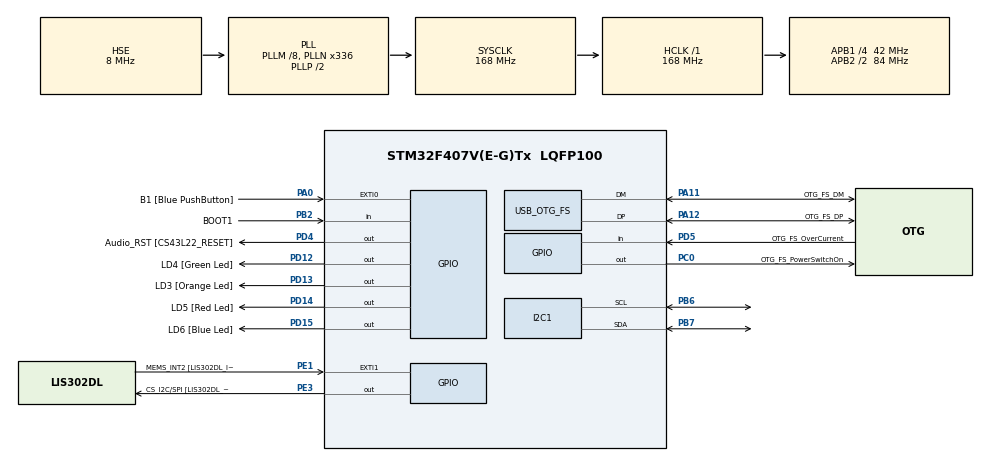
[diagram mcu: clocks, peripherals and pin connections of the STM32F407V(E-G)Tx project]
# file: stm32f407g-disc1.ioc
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Dma.I2C1_RX.0.Direction=DMA_PERIPH_TO_MEMORY
Dma.I2C1_RX.0.FIFOMode=DMA_FIFOMODE_DISABLE
Dma.I2C1_RX.0.Instance=DMA1_Stream0
Dma.I2C1_RX.0.MemDataAlignment=DMA_MDATAALIGN_BYTE
Dma.I2C1_RX.0.MemInc=DMA_MINC_ENABLE
Dma.I2C1_RX.0.Mode=DMA_NORMAL
Dma.I2C1_RX.0.PeriphDataAlignment=DMA_PDATAALIGN_BYTE
Dma.I2C1_RX.0.PeriphInc=DMA_PINC_DISABLE
Dma.I2C1_RX.0.Priority=DMA_PRIORITY_LOW
Dma.I2C1_TX.1.Direction=DMA_MEMORY_TO_PERIPH
Dma.I2C1_TX.1.FIFOMode=DMA_FIFOMODE_DISABLE
Dma.I2C1_TX.1.Instance=DMA1_Stream6
Dma.I2C1_TX.1.MemDataAlignment=DMA_MDATAALIGN_BYTE
Dma.I2C1_TX.1.MemInc=DMA_MINC_ENABLE
Dma.I2C1_TX.1.Mode=DMA_NORMAL
Dma.I2C1_TX.1.PeriphDataAlignment=DMA_PDATAALIGN_BYTE
Dma.I2C1_TX.1.PeriphInc=DMA_PINC_DISABLE
Dma.I2C1_TX.1.Priority=DMA_PRIORITY_LOW
Dma.Request0=I2C1_RX
Dma.Request1=I2C1_TX
FREERTOS.Tasks01=defaultTask,24,128,StartDefaultTask,Default,NULL,Dynamic,NULL,NULL;myTestTask,8,300,myTestTaskStart,Default,NULL,Dynamic,NULL,NULL
FREERTOS.configCHECK_FOR_STACK_OVERFLOW=1
FREERTOS.configENABLE_FPU=1
FREERTOS.configMINIMAL_STACK_SIZE=64
FREERTOS.configRECORD_STACK_HIGH_ADDRESS=1
FREERTOS.configUSE_MALLOC_FAILED_HOOK=1
FREERTOS.configUSE_NEWLIB_REENTRANT=1
FREERTOS.configUSE_POSIX_ERRNO=1
I2C1.I2C_Mode=I2C_Fast
Mcu.Family=STM32F4
Mcu.Name=STM32F407V(E-G)Tx
Mcu.Package=LQFP100
NVIC.DMA1_Stream0_IRQn=true\:5\:0\:false\:false\:true\:true\:true\:true\:true
NVIC.DMA1_Stream6_IRQn=true\:5\:0\:false\:false\:true\:true\:true\:true\:true
NVIC.I2C1_ER_IRQn=true\:5\:0\:false\:false\:true\:true\:true\:true\:true
NVIC.I2C1_EV_IRQn=true\:5\:0\:false\:false\:true\:true\:true\:true\:true
NVIC.OTG_FS_IRQn=true\:10\:0\:false\:false\:true\:true\:true\:true\:true
NVIC.PriorityGroup=NVIC_PRIORITYGROUP_4
PA0-WKUP.GPIO_Label=B1 [Blue PushButton]
PA0-WKUP.GPIO_ModeDefaultEXTI=GPIO_MODE_EVT_RISING
PA0-WKUP.GPIO_PuPd=GPIO_NOPULL
PA0-WKUP.Signal=GPXTI0
PA10.GPIO_Label=OTG_FS_ID
PA10.GPIO_Mode=GPIO_MODE_AF_PP
PA10.GPIO_PuPd=GPIO_NOPULL
PA10.GPIO_Speed=GPIO_SPEED_FREQ_LOW
PA10.Signal=USB_OTG_FS_ID
PA11.GPIO_Label=OTG_FS_DM
PA11.GPIO_Mode=GPIO_MODE_AF_PP
PA11.GPIO_PuPd=GPIO_NOPULL
PA11.GPIO_Speed=GPIO_SPEED_FREQ_LOW
PA11.Mode=Device_Only
PA11.Signal=USB_OTG_FS_DM
PA12.GPIO_Label=OTG_FS_DP
PA12.GPIO_Mode=GPIO_MODE_AF_PP
PA12.GPIO_PuPd=GPIO_NOPULL
PA12.GPIO_Speed=GPIO_SPEED_FREQ_LOW
PA12.Mode=Device_Only
PA12.Signal=USB_OTG_FS_DP
PA13.GPIO_Label=SWDIO
PA13.Mode=Serial_Wire
PA13.Signal=SYS_JTMS-SWDIO
PA14.GPIO_Label=SWCLK
PA14.Mode=Serial_Wire
PA14.Signal=SYS_JTCK-SWCLK
PA4.GPIO_Label=I2S3_WS [CS43L22_LRCK]
PA4.GPIO_Mode=GPIO_MODE_AF_PP
PA4.GPIO_PuPd=GPIO_NOPULL
PA4.GPIO_Speed=GPIO_SPEED_FREQ_LOW
PA4.Signal=I2S3_WS
PA5.GPIO_Label=SPI1_SCK [LIS302DL_SCL/SPC]
PA5.GPIO_Mode=GPIO_MODE_AF_PP
PA5.GPIO_PuPd=GPIO_NOPULL
PA5.GPIO_Speed=GPIO_SPEED_FREQ_LOW
PA5.Signal=SPI1_SCK
PA6.GPIO_Label=SPI1_MISO [LIS302DL_SDO]
PA6.GPIO_Mode=GPIO_MODE_AF_PP
PA6.GPIO_PuPd=GPIO_NOPULL
PA6.GPIO_Speed=GPIO_SPEED_FREQ_LOW
PA6.Signal=SPI1_MISO
PA7.GPIO_Label=SPI1_MOSI [LIS302DL_SDA/SDI/SDO]
PA7.GPIO_Mode=GPIO_MODE_AF_PP
PA7.GPIO_PuPd=GPIO_NOPULL
PA7.GPIO_Speed=GPIO_SPEED_FREQ_LOW
PA7.Signal=SPI1_MOSI
PA9.GPIO_Label=VBUS_FS
PA9.GPIO_Mode=GPIO_MODE_INPUT
PA9.GPIO_PuPd=GPIO_NOPULL
PA9.Signal=USB_OTG_FS_VBUS
PB10.GPIO_Label=CLK_IN [MP45DT02_CLK]
PB10.GPIO_Mode=GPIO_MODE_AF_PP
PB10.GPIO_PuPd=GPIO_NOPULL
PB10.GPIO_Speed=GPIO_SPEED_FREQ_LOW
PB10.Signal=I2S2_CK
PB2.GPIO_Label=BOOT1
PB2.GPIO_Mode=GPIO_MODE_INPUT
PB2.GPIO_PuPd=GPIO_NOPULL
PB2.Signal=GPIO_Input
PB3.GPIO_Label=SWO
PB3.Signal=SYS_JTDO-SWO
PB6.GPIO_Speed=GPIO_SPEED_FREQ_LOW
PB6.Mode=I2C
PB6.Signal=I2C1_SCL
PB7.GPIO_Speed=GPIO_SPEED_FREQ_LOW
PB7.Mode=I2C
PB7.Signal=I2C1_SDA
PC0.GPIO_Label=OTG_FS_PowerSwitchOn
PC0.GPIO_PuPd=GPIO_NOPULL
PC0.GPIO_Speed=GPIO_SPEED_FREQ_LOW
PC0.PinState=GPIO_PIN_SET
PC0.Signal=GPIO_Output
PC10.GPIO_Label=I2S3_SCK [CS43L22_SCLK]
PC10.GPIO_Mode=GPIO_MODE_AF_PP
PC10.GPIO_PuPd=GPIO_NOPULL
PC10.GPIO_Speed=GPIO_SPEED_FREQ_LOW
PC10.Signal=I2S3_CK
PC12.GPIO_Label=I2S3_SD [CS43L22_SDIN]
PC12.GPIO_Mode=GPIO_MODE_AF_PP
PC12.GPIO_PuPd=GPIO_NOPULL
PC12.GPIO_Speed=GPIO_SPEED_FREQ_LOW
PC12.Signal=I2S3_SD
PC14-OSC32_IN.GPIO_Label=PC14-OSC32_IN
PC14-OSC32_IN.Mode=LSE-External-Oscillator
PC14-OSC32_IN.Signal=RCC_OSC32_IN
PC15-OSC32_OUT.GPIO_Label=PC15-OSC32_OUT
PC15-OSC32_OUT.Mode=LSE-External-Oscillator
PC15-OSC32_OUT.Signal=RCC_OSC32_OUT
PC3.GPIO_Label=PDM_OUT [MP45DT02_DOUT]
PC3.GPIO_Mode=GPIO_MODE_AF_PP
PC3.GPIO_PuPd=GPIO_NOPULL
PC3.GPIO_Speed=GPIO_SPEED_FREQ_LOW
PC3.Signal=I2S2_SD
PC7.GPIO_Label=I2S3_MCK [CS43L22_MCLK]
PC7.GPIO_Mode=GPIO_MODE_AF_PP
PC7.GPIO_PuPd=GPIO_NOPULL
PC7.GPIO_Speed=GPIO_SPEED_FREQ_LOW
PC7.Signal=I2S3_MCK
PD12.GPIO_Label=LD4 [Green Led]
PD12.GPIO_PuPd=GPIO_NOPULL
PD12.GPIO_Speed=GPIO_SPEED_FREQ_LOW
PD12.Signal=GPIO_Output
PD13.GPIO_Label=LD3 [Orange Led]
PD13.GPIO_PuPd=GPIO_NOPULL
PD13.GPIO_Speed=GPIO_SPEED_FREQ_LOW
PD13.Signal=GPIO_Output
PD14.GPIO_Label=LD5 [Red Led]
PD14.GPIO_PuPd=GPIO_NOPULL
PD14.GPIO_Speed=GPIO_SPEED_FREQ_LOW
PD14.Signal=GPIO_Output
PD15.GPIO_Label=LD6 [Blue Led]
PD15.GPIO_PuPd=GPIO_NOPULL
PD15.GPIO_Speed=GPIO_SPEED_FREQ_LOW
PD15.Signal=GPIO_Output
PD4.GPIO_Label=Audio_RST [CS43L22_RESET]
PD4.GPIO_PuPd=GPIO_NOPULL
PD4.GPIO_Speed=GPIO_SPEED_FREQ_LOW
PD4.Signal=GPIO_Output
PD5.GPIO_Label=OTG_FS_OverCurrent
PD5.GPIO_Mode=GPIO_MODE_INPUT
PD5.GPIO_PuPd=GPIO_NOPULL
PD5.Signal=GPIO_Input
PE1.GPIO_Label=MEMS_INT2 [LIS302DL_INT2]
PE1.GPIO_ModeDefaultEXTI=GPIO_MODE_EVT_RISING
PE1.GPIO_PuPd=GPIO_NOPULL
PE1.Signal=GPXTI1
PE3.GPIO_Label=CS_I2C/SPI [LIS302DL_CS_I2C/SPI]
PE3.GPIO_PuPd=GPIO_NOPULL
PE3.GPIO_Speed=GPIO_SPEED_FREQ_LOW
PE3.Signal=GPIO_Output
PH0-OSC_IN.GPIO_Label=PH0-OSC_IN
PH0-OSC_IN.Mode=HSE-External-Oscillator
PH0-OSC_IN.Signal=RCC_OSC_IN
PH1-OSC_OUT.GPIO_Label=PH1-OSC_OUT
PH1-OSC_OUT.Mode=HSE-External-Oscillator
PH1-OSC_OUT.Signal=RCC_OSC_OUT
ProjectManager.HeapSize=0x600
ProjectManager.StackSize=0x400
ProjectManager.TargetToolchain=STM32CubeIDE
RCC.48MHZClocksFreq_Value=48000000
RCC.AHBFreq_Value=168000000
RCC.APB1CLKDivider=RCC_HCLK_DIV4
RCC.APB1Freq_Value=42000000
RCC.APB1TimFreq_Value=84000000
RCC.APB2CLKDivider=RCC_HCLK_DIV2
RCC.APB2Freq_Value=84000000
RCC.APB2TimFreq_Value=168000000
RCC.CortexFreq_Value=168000000
RCC.HCLKFreq_Value=168000000
RCC.HSE_VALUE=8000000
RCC.HSI_VALUE=16000000
RCC.PLLM=8
RCC.PLLN=336
RCC.PLLQ=7
RCC.SYSCLKFreq_VALUE=168000000
RCC.SYSCLKSource=RCC_SYSCLKSOURCE_PLLCLK
RCC.VCOOutputFreq_Value=336000000
USB_DEVICE.CLASS_NAME_FS=CDC
USB_DEVICE.VirtualMode-CDC_FS=Cdc
USB_DEVICE.VirtualModeFS=Cdc_FS
USB_OTG_FS.VirtualMode=Device_Only
VP_FREERTOS_VS_CMSIS_V2.Mode=CMSIS_V2
VP_USB_DEVICE_VS_USB_DEVICE_CDC_FS.Mode=CDC_FS
board=STM32F407G-DISC1

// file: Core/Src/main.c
/* USER CODE BEGIN Header */
/**
  ******************************************************************************
  * @file           : main.c
  * @brief          : Main program body
  ******************************************************************************
  * @attention
  *
  * Copyright (c) 2025 STMicroelectronics.
  * All rights reserved.
  *
  * This software is licensed under terms that can be found in the LICENSE file
  * in the root directory of this software component.
  * If no LICENSE file comes with this software, it is provided AS-IS.
  *
  ******************************************************************************
  */
/* USER CODE END Header */
#include "main.h"
#include "cmsis_os.h"
#include "dma.h"
#include "i2c.h"
#include "usb_device.h"
#include "gpio.h"

/* USER CODE BEGIN Includes */
#include "demo_task.h"
#include "PARSECS_LowLevelTask.h"
#include "PARSECS_Protocol_Interface.h"
/* USER CODE END Includes */

void SystemClock_Config(void);
void MX_FREERTOS_Init(void);

int main(void)
{

  /* MCU Configuration--------------------------------------------------------*/

  /* Reset of all peripherals, Initializes the Flash interface and the Systick. */
  HAL_Init();

  /* Configure the system clock */
  SystemClock_Config();

  /* Initialize all configured peripherals */
  MX_GPIO_Init();
  MX_DMA_Init();
  MX_I2C1_Init();
  /* USER CODE BEGIN 2 */
  PARSECS_LowLevelTaskInit();
  PARSECS_Protocol_Interface_Task_Init();
  DemoTask_Init();
  /* USER CODE END 2 */

  /* Init scheduler */
  osKernelInitialize();

  /* Call init function for freertos objects (in cmsis_os2.c) */
  MX_FREERTOS_Init();

  /* Start scheduler */
  osKernelStart();

  /* We should never get here as control is now taken by the scheduler */

  /* Infinite loop */
  /* USER CODE BEGIN WHILE */
  //vTaskStartScheduler();
  while (1)
  {
    /* USER CODE END WHILE */

  }
}

void SystemClock_Config(void)
{
  RCC_OscInitTypeDef RCC_OscInitStruct = {0};
  RCC_ClkInitTypeDef RCC_ClkInitStruct = {0};

  /** Configure the main internal regulator output voltage
  */
  __HAL_RCC_PWR_CLK_ENABLE();
  __HAL_PWR_VOLTAGESCALING_CONFIG(PWR_REGULATOR_VOLTAGE_SCALE1);

  /** Initializes the RCC Oscillators according to the specified parameters
  * in the RCC_OscInitTypeDef structure.
  */
  RCC_OscInitStruct.OscillatorType = RCC_OSCILLATORTYPE_HSE;
  RCC_OscInitStruct.HSEState = RCC_HSE_ON;
  RCC_OscInitStruct.PLL.PLLState = RCC_PLL_ON;
  RCC_OscInitStruct.PLL.PLLSource = RCC_PLLSOURCE_HSE;
  RCC_OscInitStruct.PLL.PLLM = 8;
  RCC_OscInitStruct.PLL.PLLN = 336;
  RCC_OscInitStruct.PLL.PLLP = RCC_PLLP_DIV2;
  RCC_OscInitStruct.PLL.PLLQ = 7;
  if (HAL_RCC_OscConfig(&RCC_OscInitStruct) != HAL_OK)
  {
    Error_Handler();
  }

  /** Initializes the CPU, AHB and APB buses clocks
  */
  RCC_ClkInitStruct.ClockType = RCC_CLOCKTYPE_HCLK|RCC_CLOCKTYPE_SYSCLK
                              |RCC_CLOCKTYPE_PCLK1|RCC_CLOCKTYPE_PCLK2;
  RCC_ClkInitStruct.SYSCLKSource = RCC_SYSCLKSOURCE_PLLCLK;
  RCC_ClkInitStruct.AHBCLKDivider = RCC_SYSCLK_DIV1;
  RCC_ClkInitStruct.APB1CLKDivider = RCC_HCLK_DIV4;
  RCC_ClkInitStruct.APB2CLKDivider = RCC_HCLK_DIV2;

  if (HAL_RCC_ClockConfig(&RCC_ClkInitStruct, FLASH_LATENCY_5) != HAL_OK)
  {
    Error_Handler();
  }
}

void Error_Handler(void)
{
  __disable_irq();
  while (1)
  {
  }
}

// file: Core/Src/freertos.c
/* USER CODE BEGIN Header */
/**
  ******************************************************************************
  * File Name          : freertos.c
  * Description        : Code for freertos applications
  ******************************************************************************
  * @attention
  *
  * Copyright (c) 2025 STMicroelectronics.
  * All rights reserved.
  *
  * This software is licensed under terms that can be found in the LICENSE file
  * in the root directory of this software component.
  * If no LICENSE file comes with this software, it is provided AS-IS.
  *
  ******************************************************************************
  */
/* USER CODE END Header */

#include "FreeRTOS.h"
#include "task.h"
#include "main.h"
#include "cmsis_os.h"

/* USER CODE BEGIN Includes */
#include <demo_task.h>
#include <FreeRTOS_Helpers.h>
#include "PARSECS_LowLevelTask.h"
#include "PARSECS_HighLevelTask.h"
#include "log.h"
/* USER CODE END Includes */

/* USER CODE BEGIN Variables */
/* Drains the LOG_SERIAL ring to USB CDC so logging never blocks myTestTask. */
osThreadId_t logTaskHandle;
const osThreadAttr_t logTask_attributes = {
  .name = "logTask",
  .stack_size = 256 * 4,
  .priority = (osPriority_t) osPriorityLow,
};
/* USER CODE END Variables */
/* Definitions for defaultTask */
osThreadId_t defaultTaskHandle;
const osThreadAttr_t defaultTask_attributes = {
  .name = "defaultTask",
  .stack_size = 256 * 4,
  .priority = (osPriority_t) osPriorityNormal,
};
/* Definitions for myTestTask */
osThreadId_t myTestTaskHandle;
const osThreadAttr_t myTestTask_attributes = {
  .name = "myTestTask",
  .stack_size = 512 * 4,
  .priority = (osPriority_t) osPriorityLow,
};

void StartDefaultTask(void *argument);
void myTestTaskStart(void *argument);

extern void MX_USB_DEVICE_Init(void);
void MX_FREERTOS_Init(void); /* (MISRA C 2004 rule 8.1) */

/* Hook prototypes */
void vApplicationStackOverflowHook(xTaskHandle xTask, signed char *pcTaskName);
void vApplicationMallocFailedHook(void);

/* USER CODE BEGIN 4 */
void vApplicationStackOverflowHook(xTaskHandle xTask, signed char *pcTaskName)
{
   (void)xTask;
   (void)pcTaskName;
   /* Halt so the fault is visible in the debugger instead of corrupting memory. */
   taskDISABLE_INTERRUPTS();
   for(;;) { }
}
/* USER CODE END 4 */

/* USER CODE BEGIN 5 */
void vApplicationMallocFailedHook(void)
{
   /* Heap exhausted (configTOTAL_HEAP_SIZE). Halt instead of running with a missing task. */
   taskDISABLE_INTERRUPTS();
   for(;;) { }
}
/* USER CODE END 5 */

void MX_FREERTOS_Init(void) {

  /* Create the thread(s) */
  /* creation of defaultTask */
  defaultTaskHandle = osThreadNew(StartDefaultTask, NULL, &defaultTask_attributes);

  /* creation of myTestTask */
  myTestTaskHandle = osThreadNew(myTestTaskStart, NULL, &myTestTask_attributes);

  /* USER CODE BEGIN RTOS_THREADS */
  logTaskHandle = osThreadNew(LOG_TaskStart, NULL, &logTask_attributes);
  /* USER CODE END RTOS_THREADS */

}

void StartDefaultTask(void *argument)
{
  /* init code for USB_DEVICE */
  MX_USB_DEVICE_Init();
  for(;;)
  {
    osDelay(1);
  }
}

void myTestTaskStart(void *argument)
{
  /* USER CODE BEGIN myTestTaskStart */
  /* LowLevelTask pumps L3/L2/L1; High Level job then USER_Send/Receive demo. */
  for(;;)
  {
    PARSECS_LowLevelTask();
    PARSECS_Protocol_Interface_Task();
    MyDemoTask();
    osDelay(1);
  }
  /* USER CODE END myTestTaskStart */
}
